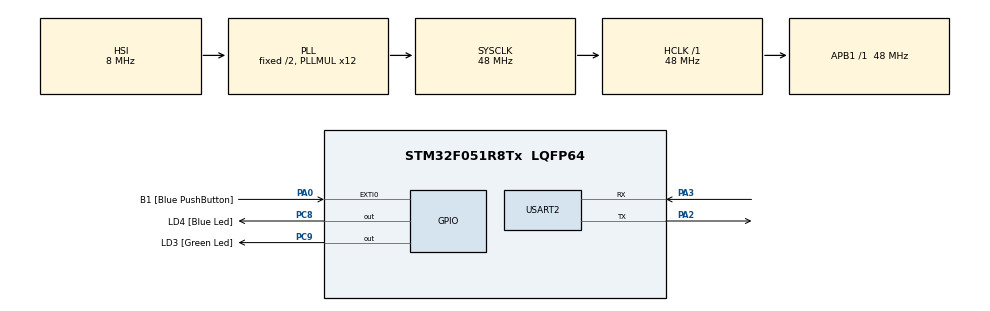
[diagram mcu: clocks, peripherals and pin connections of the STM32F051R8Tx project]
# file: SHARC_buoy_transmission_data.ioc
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Mcu.Family=STM32F0
Mcu.Name=STM32F051R8Tx
Mcu.Package=LQFP64
PA0.GPIO_Label=B1 [Blue PushButton]
PA0.GPIO_ModeDefaultEXTI=GPIO_MODE_EVT_RISING
PA0.Signal=GPXTI0
PA13.GPIO_Label=SWDIO
PA13.Mode=Serial_Wire
PA13.Signal=SYS_SWDIO
PA14.GPIO_Label=SWCLK
PA14.Mode=Serial_Wire
PA14.Signal=SYS_SWCLK
PA2.Mode=Asynchronous
PA2.Signal=USART2_TX
PA3.Mode=Asynchronous
PA3.Signal=USART2_RX
PC8.GPIO_Label=LD4 [Blue Led]
PC8.Signal=GPIO_Output
PC9.GPIO_Label=LD3 [Green Led]
PC9.Signal=GPIO_Output
ProjectManager.HeapSize=0x200
ProjectManager.StackSize=0x400
ProjectManager.TargetToolchain=STM32CubeIDE
RCC.AHBFreq_Value=48000000
RCC.APB1Freq_Value=48000000
RCC.APB1TimFreq_Value=48000000
RCC.HCLKFreq_Value=48000000
RCC.PLLMUL=RCC_PLL_MUL12
RCC.SYSCLKFreq_VALUE=48000000
RCC.SYSCLKSource=RCC_SYSCLKSOURCE_PLLCLK
USART2.VirtualMode-Asynchronous=VM_ASYNC
board=STM32F0DISCOVERY

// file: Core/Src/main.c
/* USER CODE BEGIN Header */
/**
  *************************************
Info:		SHARC buoy compression and encryption
Author:		Tristyn Ferreiro and Shameera Cassim
*************************************
This code compresses and encrypts data on the stm32.

Code is also provided to send data from the STM32 to other devices using UART protocol
by using HAL. You will need Putty or a Python script to read from the serial port on your PC.

In future versions, the data will be read from the sensor HAT ICM2098 chip
  ******************************************************************************
  */
/* USER CODE END Header */
#include "main.h"

/* USER CODE BEGIN Includes */
#include "stdio.h"
#include "stdlib.h"
/* USER CODE END Includes */

/* USER CODE BEGIN PD */

/* FOR COMPRESSION */
#define EI 6  // typically 10..13
#define EJ  5  // typically 4..5
#define P   1  //If match length <= P then output one character
#define N (1 << EI)  // buffer size
#define F ((1 << EJ) + 1)  // lookahead buffer size

/* FOR ENCRYPTION */
//#define MAX_VALUE 16
//#define E_VALUE 3 /*65535*/

/* USER CODE END PD */

 UART_HandleTypeDef huart2;

/* USER CODE BEGIN PV */
 int numRecordings =0; // this keeps track of the number of recordings.

 int bit_buffer = 0, bit_mask = 128;
 int buffer[N * 2];

 // needs to be at least the size of the input data (minimum). this size should be the limit of data stored at any one time
 int compressed[20];
 int compressedBits =0;

 //char inputData [20];
 int e = 3;
 int n = 187;
 int d = 107;
 int p = 11;
 int q = 17;
 int encryptedBits = 0;
 int encryptedData[20];

//for timing
 int start, end, t;

/* USER CODE END PV */

void SystemClock_Config(void);
static void MX_GPIO_Init(void);
static void MX_USART2_UART_Init(void);
/* USER CODE BEGIN PFP */
int correctBitbuffer(int bitbuffer);
void store(int bitbuffer);
void putbit1(void);
void flush_bit_buffer(void);
void output1(int c);
void output2(int x, int y);
void encode(int encryptedData[], int encryptedBits);
int ENCmodpow(int base, int power, int mod);
void encrypt(char msg[]);

/* USER CODE END PFP */

/* USER CODE BEGIN 0 */
//void HAL_UART_RxCpltCallback(UART_HandleTypeDef *huart)
//{
//	HAL_UART_Receive_IT(&huart2, rxdata,4); //restart interupt reception
//}
/* USER CODE END 0 */

int main(void)
{

  /* MCU Configuration--------------------------------------------------------*/

  /* Reset of all peripherals, Initializes the Flash interface and the Systick. */
  HAL_Init();

  /* Configure the system clock */
  SystemClock_Config();

  /* Initialize all configured peripherals */
  MX_GPIO_Init();
  MX_USART2_UART_Init();
  /* USER CODE BEGIN 2 */

  char inputArray[] = {"13, 14, 15}"};

  //This displays the header which explains the formating of the data outputed.
  uint8_t header[81];
  sprintf(header, "\r\nAccel X (g),Accel Y (g),Accel Z (g),Gyro X (dps),Gyro Y (dps),Gyro Z (dps),Temp");
  HAL_UART_Transmit(&huart2, header, sizeof(header), 1000);

  int run = 0;

  /* USER CODE END 2 */

  /* Infinite loop */
  while (1)
  {

    /* USER CODE BEGIN 3 */

	  if (run ==0) {
		  start = HAL_GetTick();
		  encrypt(inputArray);
		  end = HAL_GetTick();
		  t = end-start;
		  //memcpy(encryptedData, &encrypted, sizeof(encrypted)+1);
	      int count = 0;
		  while (count < compressedBits) {
			  char temp[7];
			  sprintf(temp, "\r\n%d, ",compressed[count]);
			  HAL_UART_Transmit(&huart2, temp, sizeof(temp), 1000);
			  count++;
		  }
		  char temp2[22];
		  sprintf(temp2, "\r\ntime taken:%d ticks",t);
		  HAL_UART_Transmit(&huart2, temp2, sizeof(temp2), 1000);
		  run++;
	  }

	  //numRecordings++; //used for determining what size the compressed array should be set to
  }

  }
  /* USER CODE END 3 */

void SystemClock_Config(void)
{
  RCC_OscInitTypeDef RCC_OscInitStruct = {0};
  RCC_ClkInitTypeDef RCC_ClkInitStruct = {0};

  /** Initializes the RCC Oscillators according to the specified parameters
  * in the RCC_OscInitTypeDef structure.
  */
  RCC_OscInitStruct.OscillatorType = RCC_OSCILLATORTYPE_HSI;
  RCC_OscInitStruct.HSIState = RCC_HSI_ON;
  RCC_OscInitStruct.HSICalibrationValue = RCC_HSICALIBRATION_DEFAULT;
  RCC_OscInitStruct.PLL.PLLState = RCC_PLL_ON;
  RCC_OscInitStruct.PLL.PLLSource = RCC_PLLSOURCE_HSI;
  RCC_OscInitStruct.PLL.PLLMUL = RCC_PLL_MUL12;
  RCC_OscInitStruct.PLL.PREDIV = RCC_PREDIV_DIV1;
  if (HAL_RCC_OscConfig(&RCC_OscInitStruct) != HAL_OK)
  {
    Error_Handler();
  }

  /** Initializes the CPU, AHB and APB buses clocks
  */
  RCC_ClkInitStruct.ClockType = RCC_CLOCKTYPE_HCLK|RCC_CLOCKTYPE_SYSCLK
                              |RCC_CLOCKTYPE_PCLK1;
  RCC_ClkInitStruct.SYSCLKSource = RCC_SYSCLKSOURCE_PLLCLK;
  RCC_ClkInitStruct.AHBCLKDivider = RCC_SYSCLK_DIV1;
  RCC_ClkInitStruct.APB1CLKDivider = RCC_HCLK_DIV1;

  if (HAL_RCC_ClockConfig(&RCC_ClkInitStruct, FLASH_LATENCY_1) != HAL_OK)
  {
    Error_Handler();
  }
}

static void MX_USART2_UART_Init(void)
{

  huart2.Instance = USART2;
  huart2.Init.BaudRate = 9600;
  huart2.Init.WordLength = UART_WORDLENGTH_8B;
  huart2.Init.StopBits = UART_STOPBITS_1;
  huart2.Init.Parity = UART_PARITY_NONE;
  huart2.Init.Mode = UART_MODE_TX_RX;
  huart2.Init.HwFlowCtl = UART_HWCONTROL_NONE;
  huart2.Init.OverSampling = UART_OVERSAMPLING_16;
  huart2.Init.OneBitSampling = UART_ONE_BIT_SAMPLE_DISABLE;
  huart2.AdvancedInit.AdvFeatureInit = UART_ADVFEATURE_NO_INIT;
  if (HAL_UART_Init(&huart2) != HAL_OK)
  {
    Error_Handler();
  }

}

static void MX_GPIO_Init(void)
{
  GPIO_InitTypeDef GPIO_InitStruct = {0};

  /* GPIO Ports Clock Enable */
  __HAL_RCC_GPIOA_CLK_ENABLE();
  __HAL_RCC_GPIOC_CLK_ENABLE();

  /*Configure GPIO pin Output Level */
  HAL_GPIO_WritePin(GPIOC, LD4_Pin|LD3_Pin, GPIO_PIN_RESET);

  /*Configure GPIO pin : B1_Pin */
  GPIO_InitStruct.Pin = B1_Pin;
  GPIO_InitStruct.Mode = GPIO_MODE_EVT_RISING;
  GPIO_InitStruct.Pull = GPIO_NOPULL;
  HAL_GPIO_Init(B1_GPIO_Port, &GPIO_InitStruct);

  /*Configure GPIO pins : LD4_Pin LD3_Pin */
  GPIO_InitStruct.Pin = LD4_Pin|LD3_Pin;
  GPIO_InitStruct.Mode = GPIO_MODE_OUTPUT_PP;
  GPIO_InitStruct.Pull = GPIO_NOPULL;
  GPIO_InitStruct.Speed = GPIO_SPEED_FREQ_LOW;
  HAL_GPIO_Init(GPIOC, &GPIO_InitStruct);

}

/* USER CODE BEGIN 4 */

/********************************
 * THIS IS THE COMPRESSION CODE
 *******************************/
int correctBitbuffer(int bitbuffer) {
	int val;
	int tempvar = (int)log2(bitbuffer)+1;
	if (tempvar >=8) {
		val = 256 - bitbuffer;
		val = -1 * val;
		return val;
	}
	return bitbuffer;
}
/**
 * This method has been added to store the compression encoded bits in one array for printing/transmission.
 */

void store(int bitbuffer){
	compressed[compressedBits] = correctBitbuffer(bitbuffer);
    compressedBits++;
}

void putbit1(void)
{
    bit_buffer |= bit_mask;
    if ((bit_mask >>= 1) == 0) {
        store(bit_buffer);
        bit_buffer = 0;  bit_mask = 128;
    }
}

void putbit0(void)
{
    if ((bit_mask >>= 1) == 0) {
        store(bit_buffer);
        bit_buffer = 0;
        bit_mask = 128;
    }
}

void flush_bit_buffer(void)
{
    if (bit_mask != 128) {
        store(bit_buffer);
    }
}

void output1(int c)
{
    int mask;

    putbit1();
    mask = 256;
    while (mask >>= 1) {
        if (c & mask) putbit1();
        else putbit0();
    }
}

void output2(int x, int y)
{
    int mask;

    putbit0();
    mask = N;
    while (mask >>= 1) {
        if (x & mask) putbit1();
        else putbit0();
    }
    mask = (1 << EJ);
    while (mask >>= 1) {
        if (y & mask) putbit1();
        else putbit0();
    }
}

void encode(int encryptedData[], int encryptedBits)
{
    int i, j, f1, x, y, r, s, bufferend, c;
    int counter = 0;

    for (i = 0; i < N - F; i++) buffer[i] = ' ';
    for (i = N - F; i < N * 2; i++) {
        if (counter >= encryptedBits) break;
        c = encryptedData[counter];
        buffer[i] = c;  counter++;
        //printf("HERE2: %d\n",buffer[i]);
        //printf("c = %d\n", c);;
    }
    bufferend = i;  r = N - F;  s = 0;
    while (r < bufferend) {
        f1 = (F <= bufferend - r) ? F : bufferend - r;
        x = 0;  y = 1;  c = buffer[r];
        for (i = r - 1; i >= s; i--)
            if (buffer[i] == c) {
                for (j = 1; j < f1; j++)
                    if (buffer[i + j] != buffer[r + j]) break;
                if (j > y) {
                    x = i;  y = j;
                }
            }
        if (y <= P) {  y = 1;  output1(c);  }
        else output2(x & (N - 1), y - 2);
        r += y;  s += y;
        if (r >= N * 2 - F) {
            for (i = 0; i < N; i++) buffer[i] = buffer[i + N];
            bufferend -= N;  r -= N;  s -= N;
            while (bufferend < N * 2) {
                if (counter >= encryptedBits) break;
                c = encryptedData[counter];
                buffer[bufferend++] = c;  counter++;
            }
        }
    }
    /*int count = 0;
    while (count < compressedBits) {
		char temp[4];
		sprintf(temp, "%i, ",compressed[count]);
		HAL_UART_Transmit(&huart2, temp, sizeof(temp), 1000);
		count++;
    } */

}

/********************************
 * THIS IS THE ENCRYPTION CODE
 *******************************/
 int ENCmodpow(int base, int power, int mod)
{
        int i;
        int result = 1;
        for (i = 0; i < power; i++)
        {
                result = (result * base) % mod;
        }
        return result;
}

void encrypt(char msg[]) {
    int c;
	int i;
        for (i = 0; msg[i]!= '}'; i++)
        {
            c = ENCmodpow(msg[i],e,n);
            encryptedData[i] = c;
            encryptedBits++;
           // if (i > 0) {
           // sprintf(mesg, "%d and i-1 =%dP",encryptedData[i], encryptedData[i-1]);
           //  HAL_UART_Transmit(&huart2, mesg, sizeof(mesg), 1000);
           // }
        }
        //call compression
        encode(encryptedData, encryptedBits);
}
/* USER CODE END 4 */

void Error_Handler(void)
{
  __disable_irq();
  while (1)
  {
  }
}
